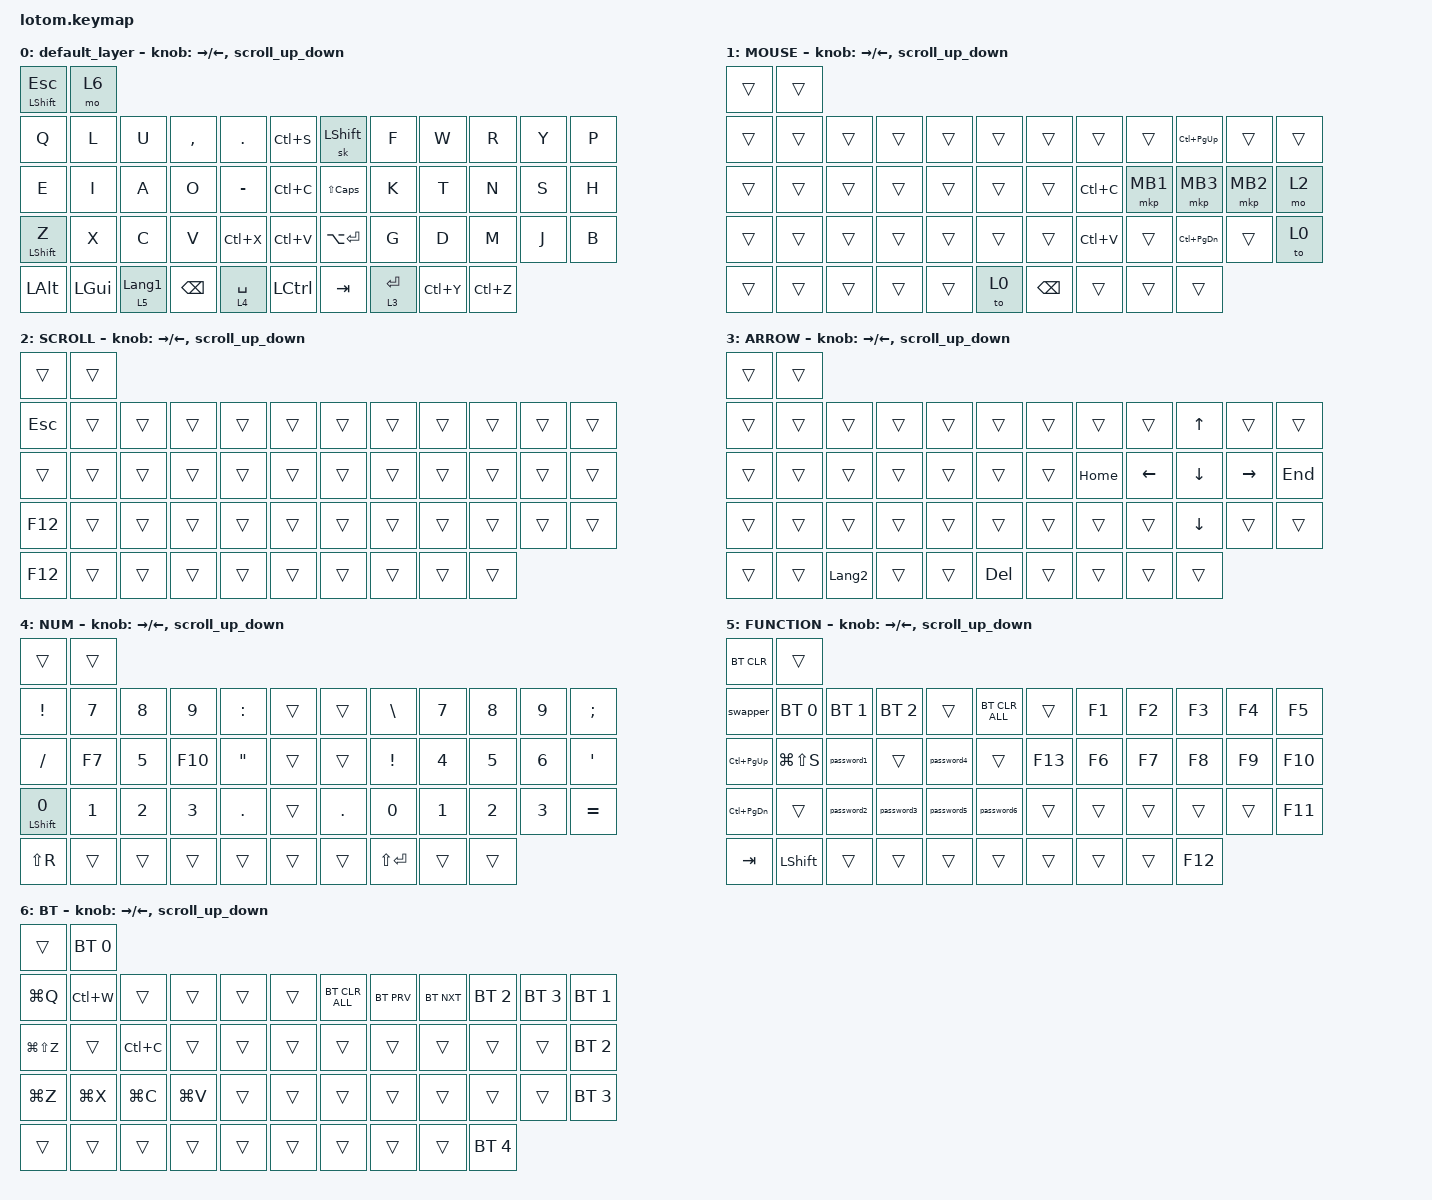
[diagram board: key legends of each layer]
#include <behaviors.dtsi>
#include <dt-bindings/zmk/bt.h>
#include <dt-bindings/zmk/keys.h>
#include <dt-bindings/zmk/pointing.h>

#define ZMK_POINTING_DEFAULT_SCRL_VAL 20
#define MOUSE 1

// OS設定を日本語キーボードのまま使用するための変換定義

#define JP_DQUOTE       AT                // "
#define JP_AMPERSAND    CARET             // &
#define JP_QUOTE        AMPERSAND         // '
#define JP_EQUAL        UNDER             // =
#define JP_CARET        EQUAL             // ^
#define JP_YEN          0x89              // ¥
#define JP_PLUS         COLON             // +
#define JP_TILDE        PLUS              // ~
#define JP_PIPE         LS(0x89)          // |
#define JP_AT           LEFT_BRACKET      // @
#define JP_COLON        SINGLE_QUOTE      // :
#define JP_ASTERISK     DOUBLE_QUOTES     // *
#define JP_BACKQUOTE    LEFT_BRACE        // `
#define JP_UNDERSCORE   LS(0x87)          // _
#define JP_LBRACKET     RIGHT_BRACKET     // [
#define JP_RBRACKET     BACKSLASH         // ]
#define JP_LPAREN       ASTERISK          // (
#define JP_RPAREN       LEFT_PARENTHESIS  // )
#define JP_LBRACE       RIGHT_BRACE       // {
#define JP_RBRACE       PIPE              // }
#define JP_KANA         LANGUAGE_1        // かな
#define JP_EISU         LANGUAGE_2        // 英数
#define JP_HANZEN       GRAVE             // 半角/全角

/ {
    behaviors {
        tog_off: toggle_layer_off {
            compatible = "zmk,behavior-toggle-layer";
            #binding-cells = <1>;
            display-name = "Toggle Layer Off";
            toggle-mode = "off";
        };

        mt_exit_AML_on_tap: mt_exit_AML_on_tap {
            compatible = "zmk,behavior-hold-tap";
            label = "MT_exit_AML_ON_TAP";
            bindings = <&kp>, <&kp_exit_AML>;

            #binding-cells = <2>;
            tapping-term-ms = <200>;
            flavor = "balanced";
            quick-tap-ms = <200>;
        };

        scroll_up_down: behavior_sensor_rotate_mouse_wheel_up_down {
            compatible = "zmk,behavior-sensor-rotate";
            label = "ENCODER_MSC_DOWN_UP";
            #sensor-binding-cells = <0>;
            bindings = <&msc MOVE_Y(-80)>, <&msc MOVE_Y(80)>;

            tap-ms = <20>;
        };

        tab_slide: behavior_sensor_rotate_tab_slide {
            compatible = "zmk,behavior-sensor-rotate";
            label = "ENCODER_TAB_SLIDE";
            #sensor-binding-cells = <0>;
            bindings = <&kp LA(LG(RIGHT_ARROW))>, <&kp LA(LG(LEFT_ARROW))>;

            tap-ms = <20>;
        };

        /* Alt+Tab swapper: Shift併用で逆方向切り替え可能 */

        swapper: swapper {
            compatible = "zmk,behavior-tri-state";
            label = "SWAPPER";
            #binding-cells = <0>;
            bindings = <&kt LALT>, <&kp TAB>, <&kt LALT>;

            ignored-key-positions = <2 8 26>;  // swapper, sk LSHIFT, mt LSHIFT
        };

        /* Ctrl+PageDown: 次のタブ（Shift併用で逆方向） */

        tab_next: tab_next {
            compatible = "zmk,behavior-tri-state";
            label = "TAB_NEXT";
            #binding-cells = <0>;
            bindings = <&kt LCTRL>, <&kp PAGE_DOWN>, <&kt LCTRL>;

            ignored-key-positions = <8 26>;  // Shiftキー
        };

        /* Ctrl+PageUp: 前のタブ（Shift併用で逆方向） */

        tab_prev: tab_prev {
            compatible = "zmk,behavior-tri-state";
            label = "TAB_PREV";
            #binding-cells = <0>;
            bindings = <&kt LCTRL>, <&kp PAGE_UP>, <&kt LCTRL>;

            ignored-key-positions = <8 26>;  // Shiftキー
        };

        /* 短いtapping-termのlayer-tap (LANGUAGE_1用) */

        lt_quick: layer_tap_quick {
            compatible = "zmk,behavior-hold-tap";
            #binding-cells = <2>;
            tapping-term-ms = <100>;
            flavor = "balanced";
            bindings = <&mo>, <&kp>;
        };
    };

    combos {
        compatible = "zmk,combos";

        atmark {
            bindings = <&kp LBKT>;
            key-positions = <22 23>;
        };

        question {
            bindings = <&kp QUESTION>;
            key-positions = <34 35>;
        };

        nakaguro {
            bindings = <&kp SLASH>;
            key-positions = <10 11>;
        };

        kakko {
            bindings = <&kakko>;
            key-positions = <4 5>;
        };

        inyou {
            bindings = <&inyou>;
            key-positions = <16 17>;
        };

        underbar {
            bindings = <&kp JP_UNDERSCORE>;
            key-positions = <28 29>;
        };

        jpyen {
            bindings = <&kp JP_YEN>;
            key-positions = <9 10>;
        };
    };

    macros {
        exit_AML: exit_AML {
            compatible = "zmk,behavior-macro";
            wait-ms = <0>;
            tap-ms = <0>;
            #binding-cells = <0>;
            bindings = <&tog_off MOUSE>;
            label = "exit_AML";
        };

        kp_exit_AML: kp_exit_AML {
            compatible = "zmk,behavior-macro-one-param";
            wait-ms = <0>;
            tap-ms = <0>;
            #binding-cells = <1>;
            bindings = <&macro_param_1to1 &kp MACRO_PLACEHOLDER &exit_AML>;
            label = "KP_exit_AML";
        };

        kakko: kakko {
            compatible = "zmk,behavior-macro";
            #binding-cells = <0>;
            bindings = <&kp LANGUAGE_1 &kp LS(N8) &kp LS(N9) &kp ENTER &kp LEFT>;
            label = "KAKKO";
        };

        inyou: inyou {
            compatible = "zmk,behavior-macro";
            #binding-cells = <0>;
            bindings = <&kp LANGUAGE_2 &kp LS(PERIOD)>;
            label = "INYOU";
        };

        atmark: atmark {
            compatible = "zmk,behavior-macro";
            #binding-cells = <0>;
            bindings = <&kp LANGUAGE_2 &kp N8>;
            label = "ATMARK";
        };

        /* パスワード入力マクロ (ビルド時にSecretsの値で置換される) */

        password1: password1 {
            compatible = "zmk,behavior-macro";
            #binding-cells = <0>;
            bindings = <&none>;
            label = "__PASSWORD1__";
        };

        password2: password2 {
            compatible = "zmk,behavior-macro";
            #binding-cells = <0>;
            bindings = <&none>;
            label = "__PASSWORD2__";
        };

        password3: password3 {
            compatible = "zmk,behavior-macro";
            #binding-cells = <0>;
            bindings = <&none>;
            label = "__PASSWORD3__";
        };

        password4: password4 {
            compatible = "zmk,behavior-macro";
            #binding-cells = <0>;
            bindings = <&none>;
            label = "__PASSWORD4__";
        };

        password5: password5 {
            compatible = "zmk,behavior-macro";
            #binding-cells = <0>;
            bindings = <&none>;
            label = "__PASSWORD5__";
        };

        password6: password6 {
            compatible = "zmk,behavior-macro";
            #binding-cells = <0>;
            bindings = <&none>;
            label = "__PASSWORD6__";
        };

        password7: password7 {
            compatible = "zmk,behavior-macro";
            #binding-cells = <0>;
            bindings = <&none>;
            label = "__PASSWORD7__";
        };

        password8: password8 {
            compatible = "zmk,behavior-macro";
            #binding-cells = <0>;
            bindings = <&none>;
            label = "__PASSWORD8__";
        };

        password9: password9 {
            compatible = "zmk,behavior-macro";
            #binding-cells = <0>;
            bindings = <&none>;
            label = "__PASSWORD9__";
        };
    };

    keymap {
        compatible = "zmk,keymap";

        default_layer {
            bindings = <
&mt_exit_AML_on_tap LSHFT ESCAPE  &mo 6
&kp Q                             &kp L     &kp U                   &kp COMMA      &kp PERIOD   &kp LC(S)         &sk LEFT_SHIFT  &kp F        &kp W      &kp R      &kp Y  &kp P
&kp E                             &kp I     &kp A                   &kp O          &kp MINUS    &kp LC(C)         &kp LS(CAPS)    &kp K        &kp T      &kp N      &kp S  &kp H
&mt_exit_AML_on_tap LEFT_SHIFT Z  &kp X     &kp C                   &kp V          &kp LC(X)    &kp LC(V)         &kp LA(ENTER)   &kp G        &kp D      &kp M      &kp J  &kp B
&kp LEFT_ALT                      &kp LGUI  &lt_quick 5 LANGUAGE_1  &kp BACKSPACE  &lt 4 SPACE  &kp LEFT_CONTROL  &kp TAB         &lt 3 ENTER  &kp LC(Y)  &kp LC(Z)
            >;

            sensor-bindings = <
                &inc_dec_kp RIGHT_ARROW LEFT_ARROW
                &scroll_up_down
            >;
        };

        MOUSE {
            bindings = <
&trans  &trans
&trans  &trans  &trans  &trans  &trans  &trans  &trans         &trans     &trans    &kp LC(PAGE_UP)    &trans    &trans
&trans  &trans  &trans  &trans  &trans  &trans  &trans         &kp LC(C)  &mkp MB1  &mkp MB3           &mkp MB2  &mo 2
&trans  &trans  &trans  &trans  &trans  &trans  &trans         &kp LC(V)  &trans    &kp LC(PAGE_DOWN)  &trans    &to 0
&trans  &trans  &trans  &trans  &trans  &to 0   &kp BACKSPACE  &trans     &trans    &trans
            >;

            sensor-bindings = <
                &inc_dec_kp RIGHT_ARROW LEFT_ARROW
                &scroll_up_down
            >;
        };

        SCROLL {
            bindings = <
&trans      &trans
&kp ESCAPE  &trans  &trans  &trans  &trans  &trans  &trans  &trans  &trans  &trans  &trans  &trans
&trans      &trans  &trans  &trans  &trans  &trans  &trans  &trans  &trans  &trans  &trans  &trans
&kp F12     &trans  &trans  &trans  &trans  &trans  &trans  &trans  &trans  &trans  &trans  &trans
&kp F12     &trans  &trans  &trans  &trans  &trans  &trans  &trans  &trans  &trans
            >;

            sensor-bindings = <
                &inc_dec_kp RIGHT_ARROW LEFT_ARROW
                &scroll_up_down
            >;
        };

        ARROW {
            bindings = <
&trans  &trans
&trans  &trans  &trans          &trans  &trans  &trans   &trans  &trans    &trans          &kp UP_ARROW    &trans           &trans
&trans  &trans  &trans          &trans  &trans  &trans   &trans  &kp HOME  &kp LEFT_ARROW  &kp DOWN_ARROW  &kp RIGHT_ARROW  &kp END
&trans  &trans  &trans          &trans  &trans  &trans   &trans  &trans    &trans          &kp DOWN_ARROW  &trans           &trans
&trans  &trans  &kp LANGUAGE_2  &trans  &trans  &kp DEL  &trans  &trans    &trans          &trans
            >;

            sensor-bindings = <
                &inc_dec_kp RIGHT_ARROW LEFT_ARROW
                &scroll_up_down
            >;
        };

        NUM {
            bindings = <
&trans                   &trans
&kp EXCLAMATION          &kp NUMBER_7  &kp NUMBER_8  &kp NUMBER_9  &kp JP_PLUS      &trans  &trans      &kp BACKSLASH    &kp NUMBER_7  &kp NUMBER_8  &kp NUMBER_9  &kp SEMICOLON
&kp SLASH                &kp F7        &kp NUMBER_5  &kp F10       &kp JP_ASTERISK  &trans  &trans      &kp EXCLAMATION  &kp NUMBER_4  &kp NUMBER_5  &kp NUMBER_6  &kp SQT
&mt LEFT_SHIFT NUMBER_0  &kp NUMBER_1  &kp NUMBER_2  &kp NUMBER_3  &kp PERIOD       &trans  &kp PERIOD  &kp NUMBER_0     &kp NUMBER_1  &kp NUMBER_2  &kp NUMBER_3  &kp EQUAL
&kp LS(R)                &trans        &trans        &trans        &trans           &trans  &trans      &kp LS(ENTER)    &trans        &trans
            >;

            sensor-bindings = <
                &inc_dec_kp RIGHT_ARROW LEFT_ARROW
                &scroll_up_down
            >;
        };

        FUNCTION {
            bindings = <
&bt BT_CLR         &trans
&swapper           &bt BT_SEL 0    &bt BT_SEL 1  &bt BT_SEL 2  &trans      &bt BT_CLR_ALL  &trans   &kp F1  &kp F2  &kp F3   &kp F4  &kp F5
&kp LC(PAGE_UP)    &kp LG(LS(S))   &password1    &trans        &password4  &trans          &kp F13  &kp F6  &kp F7  &kp F8   &kp F9  &kp F10
&kp LC(PAGE_DOWN)  &trans          &password2    &password3    &password5  &password6      &trans   &trans  &trans  &trans   &trans  &kp F11
&kp TAB            &kp LEFT_SHIFT  &trans        &trans        &trans      &trans          &trans   &trans  &trans  &kp F12
            >;

            sensor-bindings = <
                &inc_dec_kp RIGHT_ARROW LEFT_ARROW
                &scroll_up_down
            >;
        };

        BT {
            bindings = <
&trans         &bt BT_SEL 0
&kp LG(Q)      &kp LC(W)     &trans     &trans     &trans  &trans  &bt BT_CLR_ALL  &bt BT_PRV  &bt BT_NXT  &bt BT_SEL 2  &bt BT_SEL 3  &bt BT_SEL 1
&kp LG(LS(Z))  &trans        &kp LC(C)  &trans     &trans  &trans  &trans          &trans      &trans      &trans        &trans        &bt BT_SEL 2
&kp LG(Z)      &kp LG(X)     &kp LG(C)  &kp LG(V)  &trans  &trans  &trans          &trans      &trans      &trans        &trans        &bt BT_SEL 3
&trans         &trans        &trans     &trans     &trans  &trans  &trans          &trans      &trans      &bt BT_SEL 4
            >;

            sensor-bindings = <
                &inc_dec_kp RIGHT_ARROW LEFT_ARROW
                &scroll_up_down
            >;
        };
    };
};
